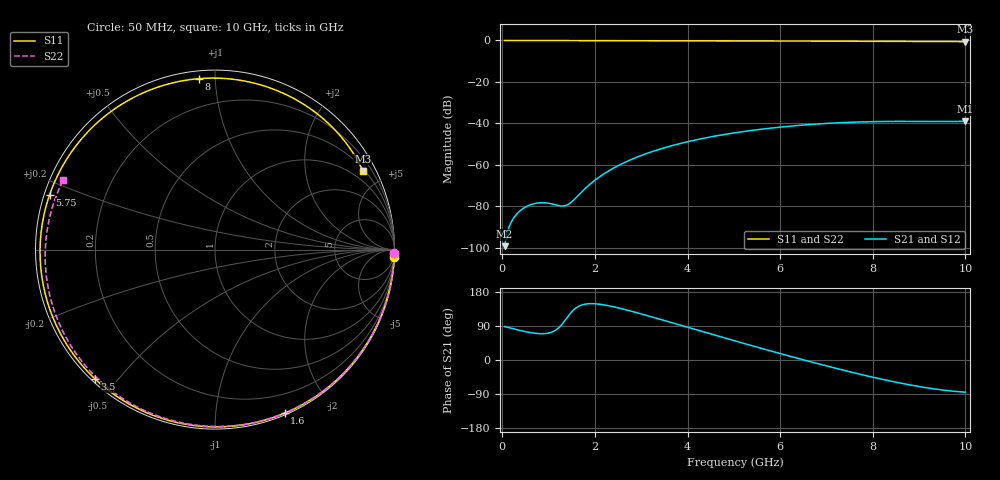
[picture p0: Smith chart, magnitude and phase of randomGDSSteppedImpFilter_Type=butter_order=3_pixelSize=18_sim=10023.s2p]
! freq	dB(S11)	phase(S11)	dB(S12)	phase(S12)
!  dB(S21)	phase(S21)	dB(S22)	phase(S22)
!S-par simulation data
#  GHz  S  DB  R 50
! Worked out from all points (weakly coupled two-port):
!   200 points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, 50 MHz to 10 GHz, reference 50 ohm
!   highest |S21| = -38.95 dB at 10 GHz (marker M1); lowest = -99.2 dB at 50 MHz (marker M2)
!   lowest |S11| = -0.6 dB at 10 GHz (marker M3), VSWR 28.74, Z = 29.1 + j196 ohm
!   |S11| at or under -10 dB: nowhere
!   |S22| runs from -0.6 to 0.0 dB; largest |S21 - S12| = 0
!   S11 on the Smith chart (normalised r, x): 50 MHz: 0, -52; 1.6 GHz: 0.02, -1.51; 3.5 GHz: 0.01, -0.44; 5.75 GHz: 0.02, +0.16; 8 GHz: 0.04, +0.91; 10 GHz: 0.58, +3.93
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0.05  -0.00 -2.2  -99.15 88.4  -99.15 88.4  -0.00 -1.1
0.5  -0.03 -21.7  -80.30 74.9  -80.30 74.9  -0.02 -11.3
0.65  -0.04 -28.1  -78.90 71.5  -78.90 71.5  -0.02 -14.7
0.9  -0.05 -38.7  -78.23 69.5  -78.23 69.5  -0.03 -20.3
1.35  -0.07 -57.1  -79.68 103.6  -79.68 103.6  -0.04 -30.3
1.45  -0.07 -61.1  -78.64 120.0  -78.64 120.0  -0.04 -32.5
1.6  -0.08 -67.0  -75.62 138.0  -75.62 138.0  -0.05 -35.7
1.75  -0.09 -72.8  -72.25 146.3  -72.25 146.3  -0.05 -39.0
2.05  -0.10 -84.0  -66.54 147.9  -66.54 147.9  -0.06 -45.5
2.45  -0.11 -98.3  -60.95 139.1  -60.95 139.1  -0.07 -54.0
2.9  -0.13 -113.6  -56.31 125.0  -56.31 125.0  -0.08 -63.4
3.4  -0.15 -129.8  -52.40 107.8  -52.40 107.8  -0.10 -73.7
3.5  -0.15 -132.9  -51.73 104.2  -51.73 104.2  -0.10 -75.7
4.25  -0.18 -155.5  -47.59 77.5  -47.59 77.5  -0.13 -90.6
5.05  -0.22 -178.5  -44.42 49.5  -44.42 49.5  -0.16 -106.1
5.75  -0.26 161.6  -42.37 25.5  -42.37 25.5  -0.20 -119.4
6.7  -0.31 134.4  -40.43 -6.0  -40.43 -6.0  -0.27 -137.2
7.4  -0.35 113.7  -39.54 -27.9  -39.54 -27.9  -0.33 -150.4
8  -0.38 95.3  -39.13 -45.4  -39.13 -45.4  -0.39 -162.1
8.35  -0.41 84.4  -39.02 -54.8  -39.02 -54.8  -0.42 -169.0
9.2  -0.46 56.7  -39.04 -74.0  -39.04 -74.0  -0.53 173.4
10  -0.60 28.0  -38.95 -84.8  -38.95 -84.8  -0.63 155.4
